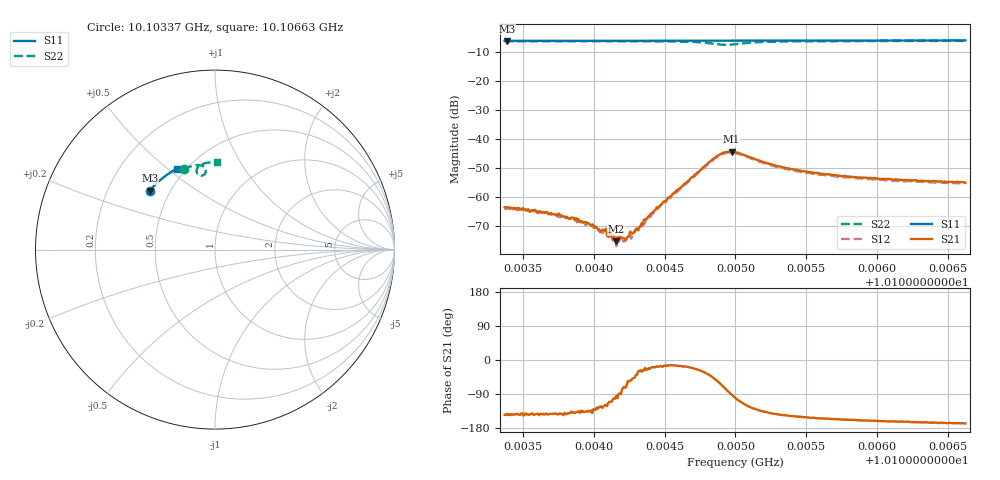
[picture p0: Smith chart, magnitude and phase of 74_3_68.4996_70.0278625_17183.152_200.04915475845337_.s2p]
#  HZ  S  RI  R  50.00
! Rohde & Schwarz Vector Network Analyzer
! Rohde-Schwarz,ZNB20-2Port,1311601062101988,3.16
! Created: UTC 3/20/2024, 4:51:53 PM
! freq[Hz]  re:S11  im:S11  re:S21  im:S21  re:S12  im:S12  re:S22  im:S22
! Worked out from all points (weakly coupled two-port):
!   401 points, 10.10337 GHz to 10.10663 GHz, reference 50 ohm
!   highest |S21| = -44.32 dB at 10.10497 GHz (marker M1); lowest = -75.2 dB at 10.10416 GHz (marker M2)
!   lowest |S11| = -6.2 dB at 10.10339 GHz (marker M3), VSWR 2.92, Z = 19.3 + j16.7 ohm
!   |S11| at or under -10 dB: nowhere
!   |S22| runs from -7.6 to -6.2 dB; largest |S21 - S12| = 0.00061
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1.010337e10  -0.364 0.3275  -0.000547 -0.000384  -0.000488 -0.00043  -0.1754 0.4488
1.0103386e10  -0.3632 0.3282  -0.000531 -0.000409  -0.000497 -0.000435  -0.1745 0.4493
1.0103679e10  -0.3516 0.3417  -0.000411 -0.000299  -0.000391 -0.00035  -0.1557 0.4568
1.0103858e10  -0.3443 0.3499  -0.000332 -0.000291  -0.000307 -0.000276  -0.1437 0.4609
1.0103915e10  -0.342 0.3524  -0.000287 -0.000257  -0.000245 -0.000264  -0.1399 0.4622
1.0104021e10  -0.3376 0.3571  -0.000175 -0.000244  -0.000165 -0.00023  -0.1324 0.4644
1.010407e10  -0.3353 0.3591  -0.000146 -0.000227  -0.000137 -0.000208  -0.1289 0.4655
1.0104143e10  -0.3323 0.3624  -4.31e-05 -0.000215  -2.74e-05 -0.000199  -0.1233 0.4668
1.0104159e10  -0.3315 0.3631  -1.31e-05 -0.000173  -1.43e-05 -0.000142  -0.1221 0.4672
1.0104216e10  -0.3291 0.3655  6.24e-05 -0.000182  7.03e-05 -0.000156  -0.1176 0.4682
1.0104233e10  -0.3285 0.3662  7.74e-05 -0.000184  0.000117 -0.000153  -0.1163 0.4684
1.0104314e10  -0.3249 0.3696  0.000232 -0.000132  0.000247 -0.000141  -0.1096 0.4695
1.0104347e10  -0.3234 0.371  0.000309 -0.000158  0.000298 -0.000121  -0.1066 0.4702
1.0104461e10  -0.3183 0.3758  0.00065 -0.000207  0.000662 -0.000131  -0.0958 0.471
1.0104851e10  -0.3002 0.3912  0.0031 -0.00354  0.00329 -0.00314  -0.0514 0.4338
1.0104916e10  -0.2974 0.3935  0.00193 -0.00545  0.00231 -0.00507  -0.0645 0.4151
1.0104973e10  -0.2946 0.3957  -0.000141 -0.00608  0.000385 -0.00582  -0.0856 0.4137
1.0104998e10  -0.2938 0.3966  -0.000977 -0.00587  -0.000429 -0.00572  -0.0932 0.4179
1.0105266e10  -0.2811 0.4069  -0.00279 -0.00222  -0.00249 -0.00239  -0.0892 0.4654
1.0105543e10  -0.2675 0.4168  -0.00234 -0.00121  -0.00214 -0.00135  -0.0643 0.4784
1.0106088e10  -0.2397 0.4349  -0.00194 -0.00062  -0.00179 -0.000788  -0.0236 0.4867
1.0106625e10  -0.2113 0.4506  -0.00173 -0.000387  -0.00165 -0.000549  0.0131 0.489
